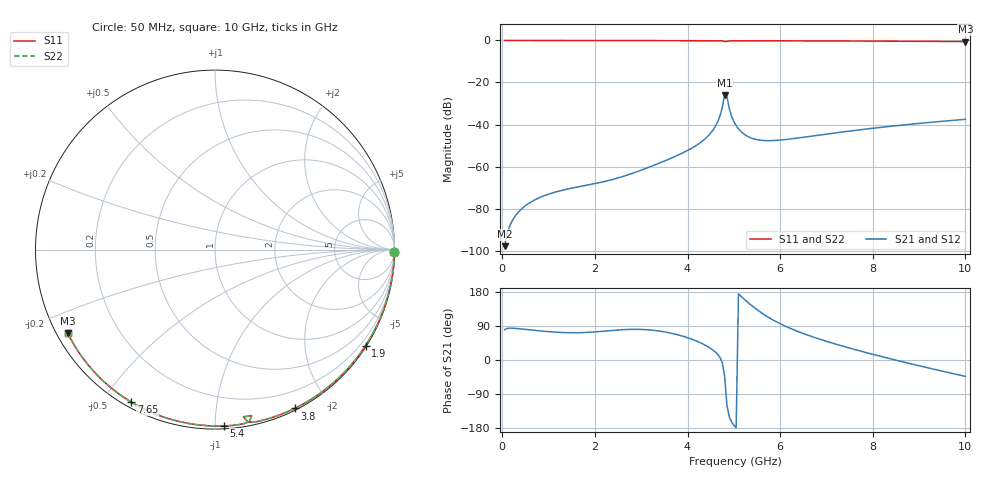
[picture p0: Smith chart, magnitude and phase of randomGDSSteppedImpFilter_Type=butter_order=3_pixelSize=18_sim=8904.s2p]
! freq	dB(S11)	phase(S11)	dB(S12)	phase(S12)
!  dB(S21)	phase(S21)	dB(S22)	phase(S22)
!S-par simulation data
#  GHz  S  DB  R 50
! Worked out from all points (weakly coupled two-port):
!   200 points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, 50 MHz to 10 GHz, reference 50 ohm
!   highest |S21| = -26.08 dB at 4.8 GHz (marker M1); lowest = -97.9 dB at 50 MHz (marker M2)
!   lowest |S11| = -0.5 dB at 10 GHz (marker M3), VSWR 34.24, Z = 1.56 - j13.2 ohm
!   |S11| at or under -10 dB: nowhere
!   |S22| runs from -0.5 to 0.0 dB; largest |S21 - S12| = 0
!   S11 on the Smith chart (normalised r, x): 50 MHz: open; 1.9 GHz: 0.03, -3.42; 3.8 GHz: 0.02, -1.62; 5.4 GHz: 0.02, -1.05; 7.65 GHz: 0.02, -0.59; 10 GHz: 0.03, -0.26
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0.05  -0.00 -0.9  -97.90 80.0  -97.90 80.0  -0.00 -0.9
0.4  -0.01 -7.0  -80.52 82.1  -80.52 82.1  -0.01 -7.0
0.95  -0.02 -16.5  -73.53 75.3  -73.53 75.3  -0.02 -16.5
1.75  -0.04 -30.1  -69.21 72.4  -69.21 72.4  -0.04 -30.1
1.9  -0.04 -32.6  -68.57 73.3  -68.57 73.3  -0.04 -32.6
2.6  -0.06 -44.2  -64.76 80.0  -64.76 80.0  -0.06 -44.2
3.4  -0.08 -57.1  -58.30 76.2  -58.30 76.2  -0.08 -57.1
3.8  -0.09 -63.4  -54.51 66.1  -54.51 66.1  -0.09 -63.4
4.2  -0.10 -69.7  -49.81 49.7  -49.81 49.7  -0.10 -69.7
4.5  -0.11 -74.4  -44.09 30.4  -44.09 30.4  -0.11 -74.4
4.7  -0.15 -78.0  -35.95 7.0  -35.95 7.0  -0.15 -78.0
4.8  -0.49 -80.3  -26.08 -42.0  -26.08 -42.0  -0.49 -80.3
4.85  -0.46 -77.5  -26.61 -118.1  -26.61 -118.1  -0.46 -77.5
4.95  -0.16 -79.9  -36.00 -163.3  -36.00 -163.3  -0.16 -79.9
5.05  -0.14 -81.7  -40.55 -179.2  -40.55 -179.2  -0.14 -81.7
5.2  -0.14 -84.1  -44.25 163.0  -44.25 163.0  -0.14 -84.1
5.4  -0.14 -87.1  -46.64 142.2  -46.64 142.2  -0.14 -87.1
5.85  -0.16 -93.7  -47.64 105.4  -47.64 105.4  -0.16 -93.7
6.7  -0.21 -105.7  -45.47 61.1  -45.47 61.1  -0.21 -105.7
7.65  -0.27 -118.8  -42.70 26.3  -42.70 26.3  -0.27 -118.8
8.35  -0.33 -128.2  -40.92 4.1  -40.92 4.1  -0.33 -128.2
10  -0.51 -150.5  -37.52 -43.2  -37.52 -43.2  -0.51 -150.5
